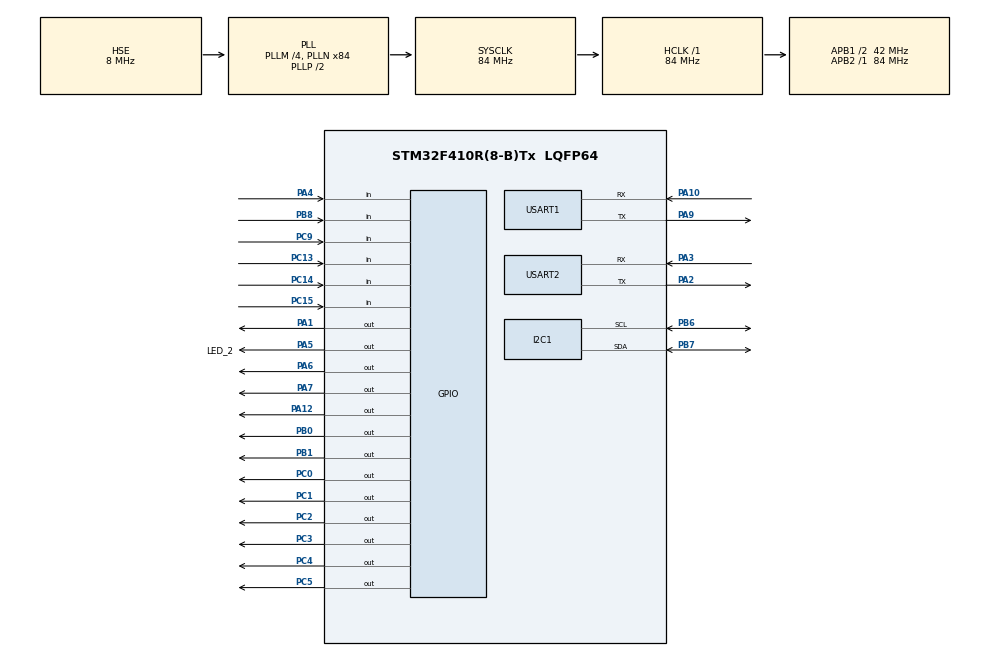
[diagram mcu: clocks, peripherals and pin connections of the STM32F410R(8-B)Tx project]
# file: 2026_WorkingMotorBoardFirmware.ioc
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Dma.Request0=USART1_RX
Dma.USART1_RX.0.Direction=DMA_PERIPH_TO_MEMORY
Dma.USART1_RX.0.FIFOMode=DMA_FIFOMODE_DISABLE
Dma.USART1_RX.0.Instance=DMA2_Stream2
Dma.USART1_RX.0.MemDataAlignment=DMA_MDATAALIGN_BYTE
Dma.USART1_RX.0.MemInc=DMA_MINC_ENABLE
Dma.USART1_RX.0.Mode=DMA_NORMAL
Dma.USART1_RX.0.PeriphDataAlignment=DMA_PDATAALIGN_BYTE
Dma.USART1_RX.0.PeriphInc=DMA_PINC_DISABLE
Dma.USART1_RX.0.Priority=DMA_PRIORITY_LOW
Mcu.Family=STM32F4
Mcu.Name=STM32F410R(8-B)Tx
Mcu.Package=LQFP64
NVIC.DMA2_Stream2_IRQn=true\:0\:0\:false\:false\:true\:false\:true\:true
NVIC.PriorityGroup=NVIC_PRIORITYGROUP_4
NVIC.TIM1_BRK_TIM9_IRQn=true\:0\:0\:false\:false\:true\:true\:true\:true
NVIC.TIM6_DAC_IRQn=true\:0\:0\:false\:true\:true\:2\:true\:true\:true
NVIC.USART1_IRQn=true\:0\:0\:false\:false\:true\:true\:true\:true
NVIC.USART2_IRQn=true\:0\:0\:false\:true\:true\:1\:true\:true\:true
PA1.Signal=GPIO_Output
PA10.Mode=Asynchronous
PA10.Signal=USART1_RX
PA12.Signal=GPIO_Output
PA13.Signal=SYS_JTMS-SWDIO
PA14.Signal=SYS_JTCK-SWCLK
PA2.Mode=Asynchronous
PA2.Signal=USART2_TX
PA3.Mode=Asynchronous
PA3.Signal=USART2_RX
PA4.Signal=GPIO_Input
PA5.GPIO_Label=LED_2
PA5.Signal=GPIO_Output
PA6.Signal=GPIO_Output
PA7.Signal=GPIO_Output
PA9.Mode=Asynchronous
PA9.Signal=USART1_TX
PB0.Signal=GPIO_Output
PB1.Signal=GPIO_Output
PB3.Signal=SYS_JTDO-SWO
PB4.Signal=SPI1_MISO
PB5.Signal=SPI1_MOSI
PB6.Mode=I2C
PB6.Signal=I2C1_SCL
PB7.Mode=I2C
PB7.Signal=I2C1_SDA
PB8.Signal=GPIO_Input
PC0.Signal=GPIO_Output
PC1.Signal=GPIO_Output
PC13-ANTI_TAMP.Signal=GPIO_Input
PC14-OSC32_IN.Signal=GPIO_Input
PC15-OSC32_OUT.Signal=GPIO_Input
PC2.Signal=GPIO_Output
PC3.Signal=GPIO_Output
PC4.Signal=GPIO_Output
PC5.Signal=GPIO_Output
PC9.Signal=GPIO_Input
PH0\ -\ OSC_IN.Mode=HSE-External-Oscillator
PH0\ -\ OSC_IN.Signal=RCC_OSC_IN
PH1\ -\ OSC_OUT.Mode=HSE-External-Oscillator
PH1\ -\ OSC_OUT.Signal=RCC_OSC_OUT
ProjectManager.HeapSize=0x200
ProjectManager.StackSize=0x400
ProjectManager.TargetToolchain=STM32CubeIDE
RCC.48MHZClocksFreq_Value=42000000
RCC.AHBFreq_Value=84000000
RCC.APB1CLKDivider=RCC_HCLK_DIV2
RCC.APB1Freq_Value=42000000
RCC.APB1TimFreq_Value=84000000
RCC.APB2Freq_Value=84000000
RCC.APB2TimFreq_Value=84000000
RCC.CortexFreq_Value=84000000
RCC.HCLKFreq_Value=84000000
RCC.HSE_VALUE=8000000
RCC.HSI_VALUE=16000000
RCC.LSE_VALUE=32768
RCC.PLLM=4
RCC.PLLN=84
RCC.PLLSourceVirtual=RCC_PLLSOURCE_HSE
RCC.SYSCLKFreq_VALUE=84000000
RCC.SYSCLKSource=RCC_SYSCLKSOURCE_PLLCLK
RCC.VCOOutputFreq_Value=168000000
TIM6.Period=1000
TIM6.Prescaler=16000
TIM9.Period=2500-1
TIM9.Prescaler=8400-1
USART1.VirtualMode=VM_ASYNC
USART2.VirtualMode=VM_ASYNC
VP_TIM6_VS_ClockSourceINT.Mode=Enable_Timer
VP_TIM9_VS_ClockSourceINT.Mode=Internal
board=custom

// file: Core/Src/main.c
/* USER CODE BEGIN Header */
/**
  ******************************************************************************
  * @file           : main.c
  * @brief          : Main program body
  ******************************************************************************
  * @attention
  *
  * Copyright (c) 2025 STMicroelectronics.
  * All rights reserved.
  *
  * This software is licensed under terms that can be found in the LICENSE file
  * in the root directory of this software component.
  * If no LICENSE file comes with this software, it is provided AS-IS.
  *
  ******************************************************************************
  */
/* USER CODE END Header */
#include "main.h"

/* USER CODE BEGIN PD */
#define TRUE 1
#define FALSE 0

//Circular Buffer Parameters
#define CIRCULAR_BUFFER_SIZE 3000 //Size of Buffer for UART Recieved communication in Bytes

//Time to Update Parameters
#define TimeBetweenStatusUpdates 1 //Time between status updates in seconds
#define StatusUpdateSize 11
/* USER CODE END PD */

I2C_HandleTypeDef hi2c1;

TIM_HandleTypeDef htim6;
TIM_HandleTypeDef htim9;

UART_HandleTypeDef huart1;
UART_HandleTypeDef huart2;
DMA_HandleTypeDef hdma_usart1_rx;

/* USER CODE BEGIN PV */

int circleBufferRead = 0;
int circleBufferStore = 0;
int messages = 0;

uint8_t circleBuffer[CIRCULAR_BUFFER_SIZE] = {0};
uint8_t statusUpdate[StatusUpdateSize] = {0};

int LEDTimer1 = 3;
int LEDTimer2 = 0;
int LEDTimer3 = 0;
int LEDTimer4 = 0;
float LEDCount = 0;

float LEDState1 = 0;
float LEDState2 = 0;

float Timecount = 0;

/* USER CODE END PV */

void SystemClock_Config(void);
static void MX_GPIO_Init(void);
static void MX_DMA_Init(void);
static void MX_I2C1_Init(void);
static void MX_USART1_UART_Init(void);
static void MX_USART2_UART_Init(void);
static void MX_TIM6_Init(void);
static void MX_TIM9_Init(void);
static void MX_NVIC_Init(void);

/* USER CODE BEGIN 0 */

int Motor_Control(uint8_t circleBuffer2, uint8_t circleBuffer3){

	int direction = 1;

	if(circleBuffer3 & 128){
		direction = -1;
	}

	uint8_t rawSpeed = circleBuffer3;
	float speed = (rawSpeed & 127)*direction;
	speed = (speed/127)*100;
	uint8_t MotorSelect = circleBuffer2;

	Bitwise_Motor_Control(MotorSelect, speed);

	return 0;
}

void readBuffer(){

	if(circleBuffer[circleBufferRead] == 'M'){

		Motor_Control(circleBuffer[circleBufferRead + 1], circleBuffer[circleBufferRead + 2]);

	}
	else if(circleBuffer[circleBufferRead] == 'L'){
		LED_Control(circleBuffer[circleBufferRead + 1], circleBuffer[circleBufferRead + 2]);

	}
	else if(circleBuffer[circleBufferRead] == 'P'){

	}
	else if(circleBuffer[circleBufferRead] == 'O' && circleBuffer[circleBufferRead + 1] == 'F' && circleBuffer[circleBufferRead + 2] == 'F'){
		Stop_All_Motors();
		HAL_Delay(1000);
		Disable_Motor_Power_Outputs();

	}
	else if(circleBuffer[circleBufferRead] == 'I' && circleBuffer[circleBufferRead + 1] == 'N' && circleBuffer[circleBufferRead + 2] == 'I'){
		Enable_Motor_Power_Outputs();
		Initialize_Motors();

	}

	messages -= 1;
	circleBufferRead += 3;
	if(circleBufferRead >= CIRCULAR_BUFFER_SIZE-1){
		circleBufferRead = 0;
	}
}

void LED_Control(uint8_t circleBuffer2, uint8_t circleBuffer3){

	int LEDSpeed = circleBuffer3;
	uint8_t LEDSelect = circleBuffer2;

	if(LEDSelect & 1){
		//LEDTimer1 = LEDSpeed; //Commented out to make LED1 uneditable
	}
	if(LEDSelect & 2){
		LEDTimer2 = LEDSpeed;
	}
	if(LEDSelect & 4){
		LEDTimer3 = LEDSpeed;
	}
	if(LEDSelect & 8){
		LEDTimer4 = LEDSpeed;
	}

}

void SendUpdate(){

	if(Timecount == TimeBetweenStatusUpdates){
		HAL_UART_Transmit(&huart1, statusUpdate, StatusUpdateSize, 0xFFFF);
	}
}

/* USER CODE END 0 */

int main(void)
{

  /* MCU Configuration--------------------------------------------------------*/

  /* Reset of all peripherals, Initializes the Flash interface and the Systick. */
  HAL_Init();

  /* Configure the system clock */
  SystemClock_Config();

  /* Initialize all configured peripherals */
  MX_GPIO_Init();
  MX_DMA_Init();
  MX_I2C1_Init();
  MX_USART1_UART_Init();
  MX_USART2_UART_Init();
  MX_TIM6_Init();
  MX_TIM9_Init();

  /* Initialize interrupts */
  MX_NVIC_Init();
  /* USER CODE BEGIN 2 */
  HAL_UART_Receive_DMA(&huart1, &circleBuffer[circleBufferStore], 3);
  statusUpdate[0] = 'S';
  HAL_TIM_Base_Start_IT(&htim9);
  Disable_Motor_Power_Outputs();
  /* USER CODE END 2 */

  /* Infinite loop */
  /* USER CODE BEGIN WHILE */
  while (1)
  {

	  if(messages > 0){
	  		  readBuffer();
	  	  }

    /* USER CODE END WHILE */

  }
}

void SystemClock_Config(void)
{
  RCC_OscInitTypeDef RCC_OscInitStruct = {0};
  RCC_ClkInitTypeDef RCC_ClkInitStruct = {0};

  /** Configure the main internal regulator output voltage
  */
  __HAL_RCC_PWR_CLK_ENABLE();
  __HAL_PWR_VOLTAGESCALING_CONFIG(PWR_REGULATOR_VOLTAGE_SCALE1);

  /** Initializes the RCC Oscillators according to the specified parameters
  * in the RCC_OscInitTypeDef structure.
  */
  RCC_OscInitStruct.OscillatorType = RCC_OSCILLATORTYPE_HSE;
  RCC_OscInitStruct.HSEState = RCC_HSE_ON;
  RCC_OscInitStruct.PLL.PLLState = RCC_PLL_ON;
  RCC_OscInitStruct.PLL.PLLSource = RCC_PLLSOURCE_HSE;
  RCC_OscInitStruct.PLL.PLLM = 4;
  RCC_OscInitStruct.PLL.PLLN = 84;
  RCC_OscInitStruct.PLL.PLLP = RCC_PLLP_DIV2;
  RCC_OscInitStruct.PLL.PLLQ = 4;
  RCC_OscInitStruct.PLL.PLLR = 2;
  if (HAL_RCC_OscConfig(&RCC_OscInitStruct) != HAL_OK)
  {
    Error_Handler();
  }

  /** Initializes the CPU, AHB and APB buses clocks
  */
  RCC_ClkInitStruct.ClockType = RCC_CLOCKTYPE_HCLK|RCC_CLOCKTYPE_SYSCLK
                              |RCC_CLOCKTYPE_PCLK1|RCC_CLOCKTYPE_PCLK2;
  RCC_ClkInitStruct.SYSCLKSource = RCC_SYSCLKSOURCE_PLLCLK;
  RCC_ClkInitStruct.AHBCLKDivider = RCC_SYSCLK_DIV1;
  RCC_ClkInitStruct.APB1CLKDivider = RCC_HCLK_DIV2;
  RCC_ClkInitStruct.APB2CLKDivider = RCC_HCLK_DIV1;

  if (HAL_RCC_ClockConfig(&RCC_ClkInitStruct, FLASH_LATENCY_2) != HAL_OK)
  {
    Error_Handler();
  }
}

/**
  * @brief NVIC Configuration.
  * @retval None
  */
static void MX_NVIC_Init(void)
{
  /* USART2_IRQn interrupt configuration */
  HAL_NVIC_SetPriority(USART2_IRQn, 0, 0);
  HAL_NVIC_EnableIRQ(USART2_IRQn);
  /* TIM6_DAC_IRQn interrupt configuration */
  HAL_NVIC_SetPriority(TIM6_DAC_IRQn, 0, 0);
  HAL_NVIC_EnableIRQ(TIM6_DAC_IRQn);
}

static void MX_I2C1_Init(void)
{

  hi2c1.Instance = I2C1;
  hi2c1.Init.ClockSpeed = 100000;
  hi2c1.Init.DutyCycle = I2C_DUTYCYCLE_2;
  hi2c1.Init.OwnAddress1 = 0;
  hi2c1.Init.AddressingMode = I2C_ADDRESSINGMODE_7BIT;
  hi2c1.Init.DualAddressMode = I2C_DUALADDRESS_DISABLE;
  hi2c1.Init.OwnAddress2 = 0;
  hi2c1.Init.GeneralCallMode = I2C_GENERALCALL_DISABLE;
  hi2c1.Init.NoStretchMode = I2C_NOSTRETCH_DISABLE;
  if (HAL_I2C_Init(&hi2c1) != HAL_OK)
  {
    Error_Handler();
  }

}

static void MX_TIM6_Init(void)
{

  TIM_MasterConfigTypeDef sMasterConfig = {0};

  htim6.Instance = TIM6;
  htim6.Init.Prescaler = 16000;
  htim6.Init.CounterMode = TIM_COUNTERMODE_UP;
  htim6.Init.Period = 1000;
  htim6.Init.AutoReloadPreload = TIM_AUTORELOAD_PRELOAD_DISABLE;
  if (HAL_TIM_Base_Init(&htim6) != HAL_OK)
  {
    Error_Handler();
  }
  sMasterConfig.MasterOutputTrigger = TIM_TRGO_RESET;
  sMasterConfig.MasterSlaveMode = TIM_MASTERSLAVEMODE_DISABLE;
  if (HAL_TIMEx_MasterConfigSynchronization(&htim6, &sMasterConfig) != HAL_OK)
  {
    Error_Handler();
  }

}

static void MX_TIM9_Init(void)
{

  TIM_ClockConfigTypeDef sClockSourceConfig = {0};

  htim9.Instance = TIM9;
  htim9.Init.Prescaler = 8400-1;
  htim9.Init.CounterMode = TIM_COUNTERMODE_UP;
  htim9.Init.Period = 2500-1;
  htim9.Init.ClockDivision = TIM_CLOCKDIVISION_DIV1;
  htim9.Init.AutoReloadPreload = TIM_AUTORELOAD_PRELOAD_DISABLE;
  if (HAL_TIM_Base_Init(&htim9) != HAL_OK)
  {
    Error_Handler();
  }
  sClockSourceConfig.ClockSource = TIM_CLOCKSOURCE_INTERNAL;
  if (HAL_TIM_ConfigClockSource(&htim9, &sClockSourceConfig) != HAL_OK)
  {
    Error_Handler();
  }

}

static void MX_USART1_UART_Init(void)
{

  huart1.Instance = USART1;
  huart1.Init.BaudRate = 115200;
  huart1.Init.WordLength = UART_WORDLENGTH_8B;
  huart1.Init.StopBits = UART_STOPBITS_1;
  huart1.Init.Parity = UART_PARITY_NONE;
  huart1.Init.Mode = UART_MODE_TX_RX;
  huart1.Init.HwFlowCtl = UART_HWCONTROL_NONE;
  huart1.Init.OverSampling = UART_OVERSAMPLING_16;
  if (HAL_UART_Init(&huart1) != HAL_OK)
  {
    Error_Handler();
  }

}

static void MX_USART2_UART_Init(void)
{

  huart2.Instance = USART2;
  huart2.Init.BaudRate = 115200;
  huart2.Init.WordLength = UART_WORDLENGTH_8B;
  huart2.Init.StopBits = UART_STOPBITS_1;
  huart2.Init.Parity = UART_PARITY_NONE;
  huart2.Init.Mode = UART_MODE_TX_RX;
  huart2.Init.HwFlowCtl = UART_HWCONTROL_NONE;
  huart2.Init.OverSampling = UART_OVERSAMPLING_16;
  if (HAL_UART_Init(&huart2) != HAL_OK)
  {
    Error_Handler();
  }

}

static void MX_DMA_Init(void)
{

  /* DMA controller clock enable */
  __HAL_RCC_DMA2_CLK_ENABLE();

  /* DMA interrupt init */
  /* DMA2_Stream2_IRQn interrupt configuration */
  HAL_NVIC_SetPriority(DMA2_Stream2_IRQn, 0, 0);
  HAL_NVIC_EnableIRQ(DMA2_Stream2_IRQn);

}

static void MX_GPIO_Init(void)
{
  GPIO_InitTypeDef GPIO_InitStruct = {0};

  /* GPIO Ports Clock Enable */
  __HAL_RCC_GPIOC_CLK_ENABLE();
  __HAL_RCC_GPIOH_CLK_ENABLE();
  __HAL_RCC_GPIOA_CLK_ENABLE();
  __HAL_RCC_GPIOB_CLK_ENABLE();

  /*Configure GPIO pin Output Level */
  HAL_GPIO_WritePin(GPIOC, GPIO_PIN_0|GPIO_PIN_1|GPIO_PIN_2|GPIO_PIN_3
                          |GPIO_PIN_4|GPIO_PIN_5, GPIO_PIN_RESET);

  /*Configure GPIO pin Output Level */
  HAL_GPIO_WritePin(GPIOA, GPIO_PIN_1|LED_2_Pin|GPIO_PIN_6|GPIO_PIN_7
                          |GPIO_PIN_12, GPIO_PIN_RESET);

  /*Configure GPIO pin Output Level */
  HAL_GPIO_WritePin(GPIOB, GPIO_PIN_0|GPIO_PIN_1, GPIO_PIN_RESET);

  /*Configure GPIO pins : PC13 PC14 PC15 PC9 */
  GPIO_InitStruct.Pin = GPIO_PIN_13|GPIO_PIN_14|GPIO_PIN_15|GPIO_PIN_9;
  GPIO_InitStruct.Mode = GPIO_MODE_INPUT;
  GPIO_InitStruct.Pull = GPIO_NOPULL;
  HAL_GPIO_Init(GPIOC, &GPIO_InitStruct);

  /*Configure GPIO pins : PC0 PC1 PC2 PC3
                           PC4 PC5 */
  GPIO_InitStruct.Pin = GPIO_PIN_0|GPIO_PIN_1|GPIO_PIN_2|GPIO_PIN_3
                          |GPIO_PIN_4|GPIO_PIN_5;
  GPIO_InitStruct.Mode = GPIO_MODE_OUTPUT_PP;
  GPIO_InitStruct.Pull = GPIO_NOPULL;
  GPIO_InitStruct.Speed = GPIO_SPEED_FREQ_LOW;
  HAL_GPIO_Init(GPIOC, &GPIO_InitStruct);

  /*Configure GPIO pins : PA1 LED_2_Pin PA6 PA7
                           PA12 */
  GPIO_InitStruct.Pin = GPIO_PIN_1|LED_2_Pin|GPIO_PIN_6|GPIO_PIN_7
                          |GPIO_PIN_12;
  GPIO_InitStruct.Mode = GPIO_MODE_OUTPUT_PP;
  GPIO_InitStruct.Pull = GPIO_NOPULL;
  GPIO_InitStruct.Speed = GPIO_SPEED_FREQ_LOW;
  HAL_GPIO_Init(GPIOA, &GPIO_InitStruct);

  /*Configure GPIO pin : PA4 */
  GPIO_InitStruct.Pin = GPIO_PIN_4;
  GPIO_InitStruct.Mode = GPIO_MODE_INPUT;
  GPIO_InitStruct.Pull = GPIO_NOPULL;
  HAL_GPIO_Init(GPIOA, &GPIO_InitStruct);

  /*Configure GPIO pins : PB0 PB1 */
  GPIO_InitStruct.Pin = GPIO_PIN_0|GPIO_PIN_1;
  GPIO_InitStruct.Mode = GPIO_MODE_OUTPUT_PP;
  GPIO_InitStruct.Pull = GPIO_NOPULL;
  GPIO_InitStruct.Speed = GPIO_SPEED_FREQ_LOW;
  HAL_GPIO_Init(GPIOB, &GPIO_InitStruct);

  /*Configure GPIO pins : PB4 PB5 */
  GPIO_InitStruct.Pin = GPIO_PIN_4|GPIO_PIN_5;
  GPIO_InitStruct.Mode = GPIO_MODE_AF_PP;
  GPIO_InitStruct.Pull = GPIO_NOPULL;
  GPIO_InitStruct.Speed = GPIO_SPEED_FREQ_VERY_HIGH;
  GPIO_InitStruct.Alternate = GPIO_AF5_SPI1;
  HAL_GPIO_Init(GPIOB, &GPIO_InitStruct);

  /*Configure GPIO pin : PB8 */
  GPIO_InitStruct.Pin = GPIO_PIN_8;
  GPIO_InitStruct.Mode = GPIO_MODE_INPUT;
  GPIO_InitStruct.Pull = GPIO_NOPULL;
  HAL_GPIO_Init(GPIOB, &GPIO_InitStruct);

}

/* USER CODE BEGIN 4 */

void HAL_UART_RxCpltCallback(UART_HandleTypeDef *huart){
	///HAL_UART_Transmit(&huart1, buffer, 1, 0xFFFF);
	messages += 1;
	circleBufferStore += 3;

	if(circleBufferStore >= CIRCULAR_BUFFER_SIZE - 1){
		circleBufferStore = 0;
	}

	statusUpdate[9] = (100*messages*3)/CIRCULAR_BUFFER_SIZE;
	HAL_UART_Receive_DMA(&huart1, &circleBuffer[circleBufferStore], 3);
}

void HAL_TIM_PeriodElapsedCallback(TIM_HandleTypeDef* htim){

	if(htim == &htim9){

		Timecount += 0.25;
		LEDCount += 0.25;

		if(LEDCount == 1){
			if(LEDState2 == 1){
				LEDState2 = 0;
			}
			else{
				LEDState2 = 1;
			}
		}

		if(LEDState1 == 0){
			LEDState1 = 1;
		}
		else{
			LEDState1 = 0;
		}

		LEDTimerToggle(GPIO_PIN_0, LEDTimer1, LEDState1, LEDState2);
		LEDTimerToggle(GPIO_PIN_1, LEDTimer2, LEDState1, LEDState2);
		LEDTimerToggle(GPIO_PIN_2, LEDTimer3, LEDState1, LEDState2);
		LEDTimerToggle(GPIO_PIN_3, LEDTimer4, LEDState1, LEDState2);

		SendUpdate();

		if(Timecount >= TimeBetweenStatusUpdates){
			Timecount = 0;
		}

		if(LEDCount >= 1){
			LEDCount = 0;
		}

}
}

/* USER CODE END 4 */

void Error_Handler(void)
{
  __disable_irq();
  while (1)
  {
  }
}
